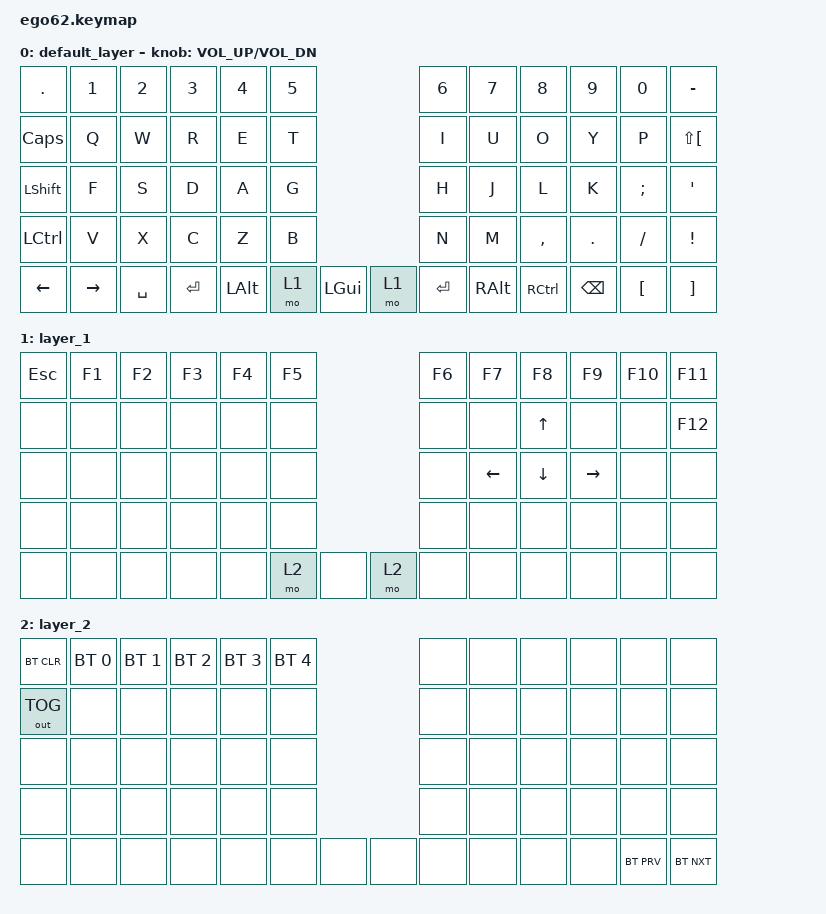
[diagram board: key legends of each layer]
/*
 * Copyright (c) 2020 The ZMK Contributors
 *
 * SPDX-License-Identifier: MIT
 */

#include <behaviors.dtsi>
#include <dt-bindings/zmk/bt.h>
#include <dt-bindings/zmk/keys.h>
#include <dt-bindings/zmk/outputs.h>

/ {
    keymap {
        compatible = "zmk,keymap";

        default_layer {
            bindings = <
&kp DOT         &kp N1     &kp N2     &kp N3     &kp N4    &kp N5                   &kp N6     &kp N7    &kp N8     &kp N9         &kp N0         &kp MINUS
&kp CAPSLOCK    &kp Q      &kp W      &kp R      &kp E     &kp T                    &kp I      &kp U     &kp O      &kp Y          &kp P          &kp LS(LEFT_BRACKET)
&kp LEFT_SHIFT  &kp F      &kp S      &kp D      &kp A     &kp G                    &kp H      &kp J     &kp L      &kp K          &kp SEMICOLON  &kp SQT
&kp LCTRL       &kp V      &kp X      &kp C      &kp Z     &kp B                    &kp N      &kp M     &kp COMMA  &kp DOT        &kp FSLH       &kp EXCLAMATION
&kp LEFT        &kp RIGHT  &kp SPACE  &kp ENTER  &kp LALT  &mo 1   &kp LGUI  &mo 1  &kp ENTER  &kp RALT  &kp RCTRL  &kp BACKSPACE  &kp LBKT       &kp RBKT
            >;

            sensor-bindings = <&inc_dec_kp C_VOL_UP C_VOL_DN>;
        };

        layer_1 {
            bindings = <
&kp ESC  &kp F1  &kp F2  &kp F3  &kp F4  &kp F5                &kp F6  &kp F7    &kp F8    &kp F9     &kp F10  &kp F11
&none    &none   &none   &none   &none   &none                 &none   &none     &kp UP    &none      &none    &kp F12
&none    &none   &none   &none   &none   &none                 &none   &kp LEFT  &kp DOWN  &kp RIGHT  &none    &none
&none    &none   &none   &none   &none   &none                 &none   &none     &none     &none      &none    &none
&none    &none   &none   &none   &none   &mo 2   &none  &mo 2  &none   &none     &none     &none      &none    &none
            >;
        };

        layer_2 {
            bindings = <
&bt BT_CLR    &bt BT_SEL 0  &bt BT_SEL 1  &bt BT_SEL 2  &bt BT_SEL 3  &bt BT_SEL 4                &none  &none  &none  &none  &none       &none
&out OUT_TOG  &none         &none         &none         &none         &none                       &none  &none  &none  &none  &none       &none
&none         &none         &none         &none         &none         &none                       &none  &none  &none  &none  &none       &none
&none         &none         &none         &none         &none         &none                       &none  &none  &none  &none  &none       &none
&none         &none         &none         &none         &none         &none         &none  &none  &none  &none  &none  &none  &bt BT_PRV  &bt BT_NXT
            >;
        };
    };
};
